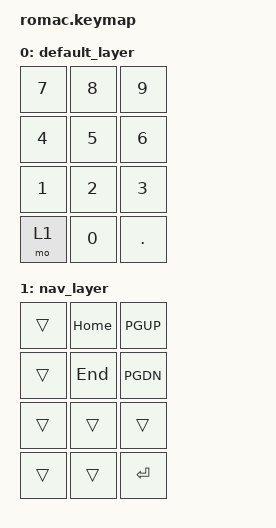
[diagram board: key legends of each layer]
#include <behaviors.dtsi>
#include <dt-bindings/zmk/keys.h>

/ {
	keymap {
		compatible = "zmk,keymap";
		
		default_layer {
// -------------------
// | 7      |  8  |  9  |
// | 4      |  5  |  6  |
// | 1      |  2  |  3  |
// | MO(1)  |  0  |  .  |
// ----------------------
			bindings = <
    &kp NUM_7 &kp NUM_8 &kp NUM_9 
    &kp NUM_4 &kp NUM_5 &kp NUM_6 
	&kp NUM_1 &kp NUM_2 &kp NUM_3 
    &mo 1     &kp NUM_0 &kp DOT 
			>;
		};

		nav_layer {
// -----------------------
// | _ |  HOME  |  PGUP  |
// | _ |  END   |  PGDN  |
// | _ |  _     |  _     |
// | _ |  _     |  RET   |
// -----------------------
			bindings = <
	&trans &kp HOME &kp PGUP 
    &trans &kp END  &kp PGDN 
    &trans &trans   &trans 
    &trans &trans   &kp RET
			>;
		};
	};
};


